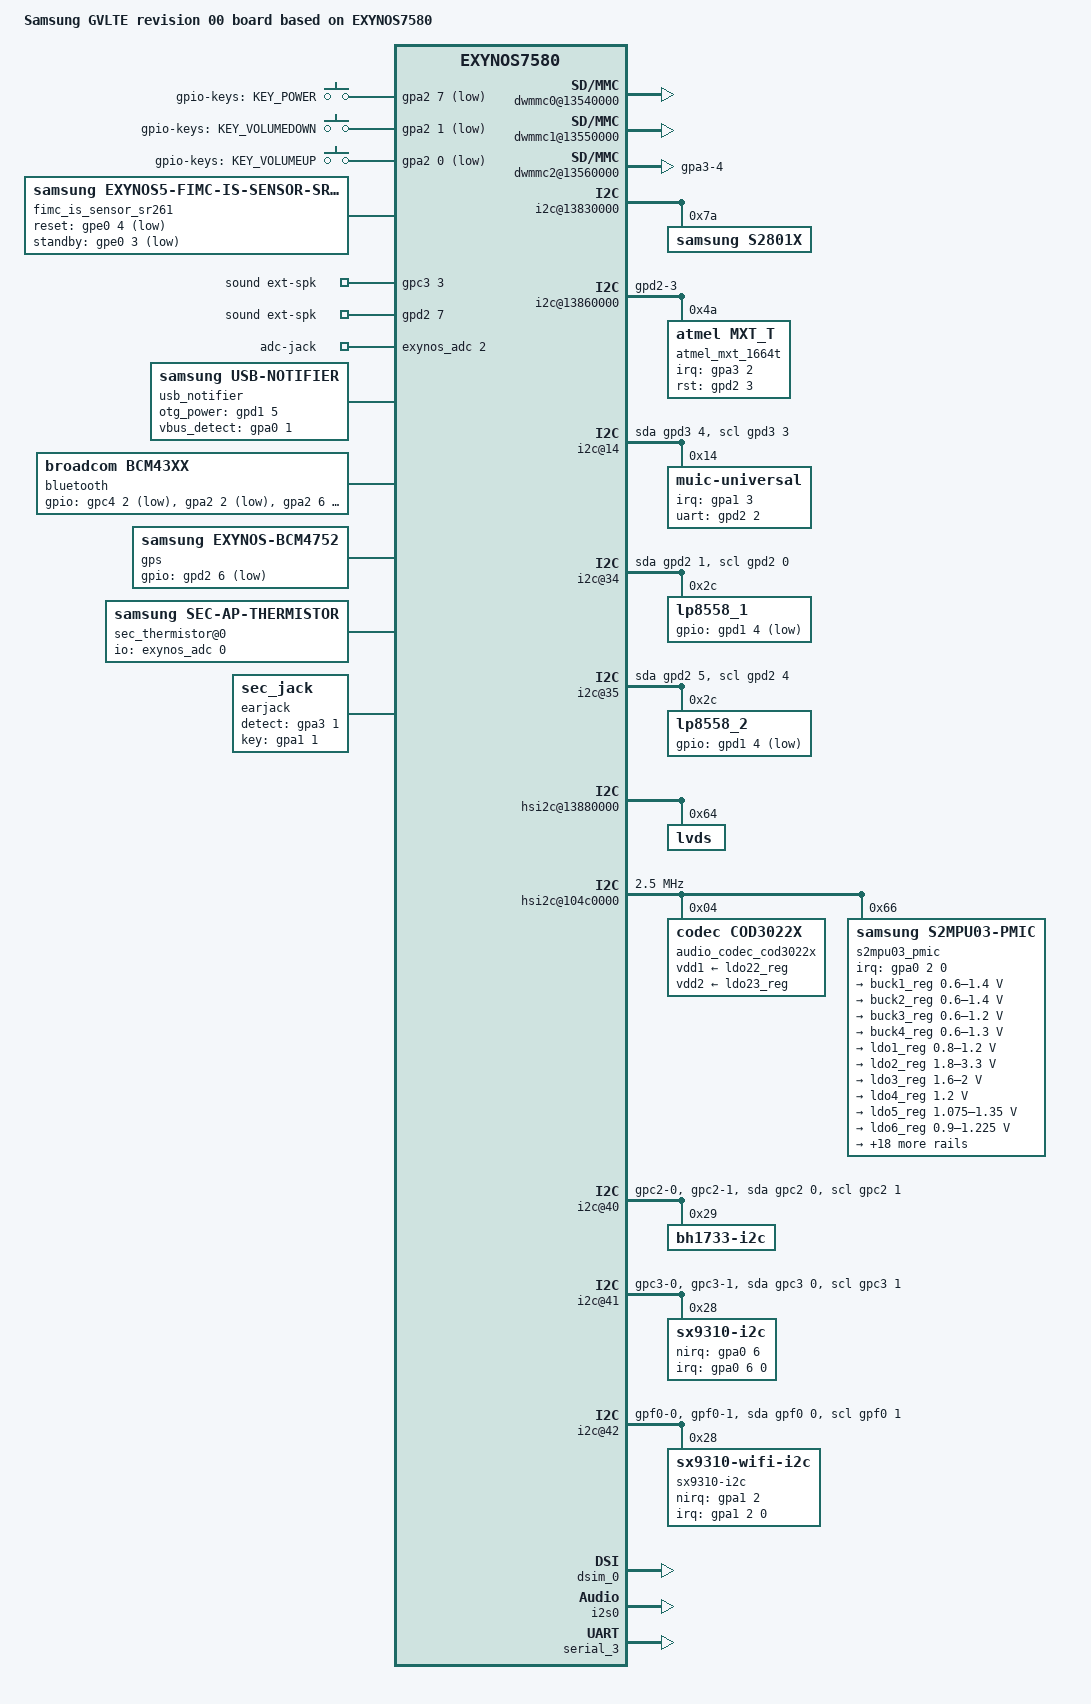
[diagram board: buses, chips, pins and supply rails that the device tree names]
/*
 * SAMSUNG GVLTE board device tree source
 *
 * Copyright (c) 2014 Samsung Electronics Co., Ltd.
 *		http://www.samsung.com
 *
 * This program is free software; you can redistribute it and/or modify
 * it under the terms of the GNU General Public License version 2 as
 * published by the Free Software Foundation.
 */

/dts-v1/;
#include "exynos7580-reserve-2000MB.dtsi"
#include "exynos7580.dtsi"
#include "modem-carmen2-pdata.dtsi"
#include "exynos7580-gvlte_gpio_00.dtsi"
#include "exynos7580-gvlte_battery_01.dtsi"

/ {
	model = "Samsung GVLTE revision 00 board based on EXYNOS7580";
	model_info-chip = <7580>;
	model_info-platform = "android";
	model_info-subtype = "samsung";
	model_info-hw_rev = <9>;
	model_info-hw_rev_end = <9>;
	compatible = "samsung,exynos7580-universal7580,r01", "samsung,exynos7580";

	chosen {
		bootargs = "console=ttySAC1,115200n8 ess_setup=0x46000000 pmic_info=0x02";
		linux,initrd-start = <0x42000000>;
		linux,initrd-end = <0x421FFFFF>;
	};

	fixed-rate-clocks {
		oscclk {
			compatible = "samsung,exynos7580-oscclk";
			clock-frequency = <26000000>;
		};
	};

	dwmmc0@13540000 {
		status = "okay";
		num-slots = <1>;
		broken-cd;
		use-smu;
		fixed_volt;
		clock-gate;
		enable-cclk-on-suspend;
		only_once_tune;
		use-fine-tuning;
		ignore-phase = <(1 << 7)>;
		bypass-for-allpass;
		supports-highspeed;
		supports-hs200-mode;
		supports-ddr200-enhanced-strobe;
		supports-poweroff-notification;
		supports-ddr200-mode;
		enable-cache-control;
		use-enable-shift;
		enable-ulp-mode;
		desc-size = <4>;
		qos_int_level = <200000>;
		fifo-depth = <0x40>;
		card-detect-delay = <0>;
		data-timeout = <200>;
		samsung,dw-mshc-ciu-div = <3>;
		samsung,dw-mshc-sdr-timing = <3 0 2 0>;
		samsung,dw-mshc-ddr-timing = <3 0 2 2>;
		samsung,dw-mshc-hs200-timing = <3 0 3 0>;
		samsung,dw-mshc-ddr200-timing = <1 0 2 0>;
		samsung,dw-mshc-ddr200-ulp-timing = <3 0 3 0>;
		samsung,dw-mshc-ddr200-delay-line = <0x28>;
		samsung,dw-mshc-ddr200-tx-delay-line = <0x28>;
		samsung,dw-mshc-txdt-crc-timer-fastlimit = <0x34>;
		samsung,dw-mshc-txdt-crc-timer-initval = <0x38>;
		clk_pin = "gpr0-0";
		clk_addr = "13750000.pinctrl";
		clk_val = <0x2>;
		clk_str_num = <4>;
		num-ref-clks = <10>;
		ciu_clkin = <25 50 50 100 200 100 200 400 400 200>;
		pinctrl-names = "default";
		pinctrl-0 = <&sd0_clk &sd0_cmd &sd0_rdqs &sd0_bus1 &sd0_bus4 &sd0_bus8>;
		slot@0 {
			reg = <0>;
			bus-width = <8>;
		};
	};

	dwmmc1@13550000 {
		status = "okay";
		num-slots = <1>;
		channel = <1>;
		fixed_volt;
		clock-gate;
		enable-cclk-on-suspend;
		/* broken-cd; */
		caps-control;
		supports-highspeed;
		supports-sdr104-mode;
		keep-power-in-suspend;
		pm-ignore-notify;
		cd-type-external;
		use-broken-voltage;
		use-fine-tuning;
		ignore-phase = <(1 << 7)>;
		fifo-depth = <0x40>;
		card-detect-delay = <200>;
		qos_int_level = <468000>;
		samsung,dw-mshc-ciu-div = <3>;
		samsung,dw-mshc-sdr-timing = <3 0 2 1>;
		samsung,dw-mshc-ddr-timing = <3 0 2 1>;
		clk_pin = "gpr2-0";
		clk_addr = "13750000.pinctrl";
		clk_val = <0x2>;
		clk_str_num = <6>;
		num-ref-clks = <8>;
		ciu_clkin = <25 50 50 100 200 100 200 400>;
		tp_mon_depth = <2>;
				/* Byte/s,  MIF clk, CPU clk, KFC clk*/
                tp_mon_table = <8000000 825000  800000  0
				0       0       0       0>;
		pinctrl-names = "default";
		pinctrl-0 = <&sd1_clk &sd1_cmd &sd1_bus1 &sd1_bus4>;
		slot@0 {
			reg = <0>;
			bus-width = <4>;
		};
	};

	dwmmc2@13560000 {
		status = "okay";
		num-slots = <1>;
		supports-highspeed;
		enable-cclk-on-suspend;
		supports-sdr104-mode;
		bypass-smu;
		use-fine-tuning;
		clock-gate;
		fifo-depth = <0x40>;
		card-detect-delay = <200>;
		data-timeout = <200>;
		ignore-phase = <(1 << 7)>;
		bypass-for-allpass;
		desc-size = <4>;
		samsung,dw-mshc-ciu-div = <3>;
		samsung,dw-mshc-sdr-timing = <3 0 2 0>;
		samsung,dw-mshc-ddr-timing = <3 0 2 1>;
		clk_pin = "gpr4-0";
		clk_addr = "13750000.pinctrl";
		clk_val = <0x2>;
		clk_str_num = <4>;
		num-ref-clks = <8>;
		ciu_clkin = <25 50 50 100 200 100 200 400>;
		pinctrl-names = "default", "output";
		pinctrl-0 = <&sd2_clk &sd2_cmd &sd2_bus1 &sd2_bus4 &dwmmc2_cd_ext_irq>;
		pinctrl-1 = <&sd2_clk_output &sd2_cmd_output &sd2_bus1 &sd2_bus4 &dwmmc2_cd_ext_irq>;
		cd-type-gpio;
		gpio-controller;
		sec-sd-slot-type = <1>; /* Normal SD slot */
		#gpio-cells = <2>;
		cd-gpio = <&gpa3 4 0xf>;
		slot@0 {
			reg = <0>;
			bus-width = <4>;
			disable-wp;
		};
	};

	pinctrl@139B0000 {
		gpa2_pull_up_univ: gpa2-pull-up-univ {
				samsung,pins = "gpa2-7", "gpa2-1", "gpa2-0";
				samsung,pin-function = <0xf>;
				samsung,pin-pud = <3>;
				samsung,pin-drv = <0>;
		};
	};

	gpio_keys{
		compatible = "gpio-keys";
		pinctrl-names = "default";
		pinctrl-0 = <&gpa2_pull_up_univ>;

		button@1 {
			label = "gpio-keys: KEY_POWER";
			interrupt-parent = <&gpa2>;
			linux,code = <116>;
			gpios = <&gpa2 7 0xf>;
			gpio-key,wakeup = <1>;
		};
		button@2 {
			label = "gpio-keys: KEY_VOLUMEDOWN";
			interrupt-parent = <&gpa2>;
			linux,code = <114>;
			gpios = <&gpa2 1 0xf>;
		};
		button@3 {
			label = "gpio-keys: KEY_VOLUMEUP";
			interrupt-parent = <&gpa2>;
			linux,code = <115>;
			gpios = <&gpa2 0 0xf>;
		};
	};

	pinctrl@139B0000 {
		otg_irq: otg-irq {
			samsung,pins = "gpa0-1";
			samsung,pin-function = <0>;
			samsung,pin-pud = <3>;
			samsung,pin-drv = <0>;
		};
		pmic_irq: pmic-irq {
			samsung,pins = "gpa0-2";
			samsung,pin-pud = <3>;
			samsung,pin-drv = <3>;
		};
		cfg_irq: cfg-irq {
			samsung,pins = "gpa0-3";
			samsung,pin-function = <0xf>;
			samsung,pin-pud = <3>;
			samsung,pin-drv = <0>;
		};
		cfg_input: cfg-input {
			samsung,pins = "gpa0-3";
			samsung,pin-function = <0>;
			samsung,pin-pud = <1>;
			samsung,pin-drv = <0>;
		};
		cod3022_irq: cod3022-irq {
			samsung,pins = "gpa0-4";
			samsung,pin-pud = <3>;
			samsung,pin-drv = <3>;
		};
		if_irq: if-irq {
			samsung,pins = "gpa0-5";
			samsung,pin-pud = <3>;
			samsung,pin-drv = <3>;
		};
		muic_irq: muic-irq {
			samsung,pins = "gpa1-3";
			samsung,pin-pud = <0>;
			samsung,pin-drv = <0>;
		};
		attn_input: attn-input {
			samsung,pins = "gpa3-2";
			samsung,pin-function = <0>;
			samsung,pin-pud = <1>;
			samsung,pin-drv = <0>;
		};
		attn_irq: attn-irq {
			samsung,pins = "gpa3-2";
			samsung,pin-function = <0xf>;
			samsung,pin-pud = <0>;
			samsung,pin-drv = <0>;
		};
		dwmmc2_cd_ext_irq: dwmmc2_cd_ext_irq {
			samsung,pins = "gpa3-4";
			samsung,pin-function = <0xf>;
			samsung,pin-pud = <0>;
			samsung,pin-drv = <0>;
		};
		grip_det: grip-det {
			samsung,pins = "gpa0-6";
			samsung,pin-function = <0>;
			samsung,pin-pud = <0>;
			samsung,pin-drv = <0>;
		};
		wifi_grip_det: wifi-grip-det {
			samsung,pins = "gpa1-2";
			samsung,pin-function = <0>;
			samsung,pin-pud = <0>;
			samsung,pin-drv = <0>;
		};
		earjack_jack_det: jack-det {
			samsung,pins = "gpa3-1";
			samsung,pin-function = <0xf>;
			samsung,pin-pud = <0>;
			samsung,pin-drv = <0>;
		};
		earjack_key_det: key-det {
			samsung,pins = "gpa1-1";
			samsung,pin-function = <0xf>;
			samsung,pin-pud = <0>;
			samsung,pin-drv = <0>;
		};
	};

	pinctrl@138C0000 {
		amp_buck_en: amp-buck-en {
			samsung,pins ="gpc3-3";
			samsung,pin-function = <1>;
			samsung,pin-pud = <0>;
			samsung,pin-con-pdn = <3>;
			samsung,pin-pud-pdn = <0>;
			samsung,pin-val = <0>;
		};
	};

	pinctrl@139C0000 {
		hs_i2c1_bus: hs-i2c1-bus {
			samsung,pins = "gpc2-3", "gpc2-2";
			samsung,pin-function = <2>;
			samsung,pin-pud = <0>;
			samsung,pin-drv = <0>;
		};

		cfg_i2c: cfg-i2c {
			samsung,pins = "gpc5-3", "gpc5-2";
			samsung,pin-function = <0>;
			samsung,pin-pud = <3>;
			samsung,pin-drv = <0>;
		};
		cfg_gpio: cfg-gpio {
			samsung,pins = "gpc5-3", "gpc5-2";
			samsung,pin-function = <0>;
			samsung,pin-pud = <0>;
			samsung,pin-drv = <0>;
		};
		amp_en: amp-en {
			samsung,pins ="gpd2-7";
			samsung,pin-function = <1>;
			samsung,pin-pud = <0>;
			samsung,pin-con-pdn = <3>;
			samsung,pin-pud-pdn = <0>;
			samsung,pin-val = <0>;
		};
		/* Warm reset information from AP */
		pm_wrsti: pm-wrsti {
			samsung,pins = "gpe1-0";
			samsung,pin-con-pdn = <3>;
		};
		sensor_reg: sensor-reg {
			samsung,pins = "gpc2-0", "gpc2-1";
			samsung,pin-function = <0x0>;
			samsung,pin-pud = <0>;
			samsung,pin-drv = <0>;
		};
		wifi_grip_reg: wifi-grip-reg {
			samsung,pins = "gpf0-0", "gpf0-1";
			samsung,pin-function = <0x0>;
			samsung,pin-pud = <0>;
			samsung,pin-drv = <0>;
		};
	};

	spi_0: spi@13910000 {
		status = "disabled";
	};

	i2c@13830000 {
		samsung,i2c-sda-delay = <100>;
		samsung,i2c-max-bus-freq = <400000>;
		status = "okay";
		#address-cells = <1>;
		#size-cells = <0>;
		supports-bus-clear;

		s2801x: s2801x@7a {
			compatible = "samsung,s2801x";
			reg = <0x7a>;
			clocks = <&clock 154>,	/* sclk_audmixer */
				 <&clock 155>,	/* sclk_audmixer_bclk0*/
				 <&clock 156>,	/* sclk_audmixer_bclk1 */
				 <&clock 157>,	/* sclk_audmixer_bclk2 */
				 <&clock 152>,	/* bclk_mi2s */
				 <&clock 149>;	/* dout_audmixer*/

			clock-names = "audmixer_sysclk", "audmixer_bclk0",
					"audmixer_bclk1", "audmixer_bclk2",
					"mi2s_bclk", "audmixer_dout";
			sysreg-reset = <0x110F2000>;
			sysreg-i2c = <0x110F3000>;
			pinctrl-names = "default", "idle", "bt-idle";
			pinctrl-0 = <&i2s_pmic_bus
					&i2s2_codec_clk
					&pcm_bt_bus>;
			pinctrl-1 = <&i2s_pmic_bus_idle
					&i2s2_codec_clk_idle
					&pcm_bt_bus_idle>;
			pinctrl-2 = <&i2s_pmic_bus
					&i2s2_codec_clk
					&pcm_bt_bus_idle>;
			samsung,lpass-subip;
		};
	};

	pinctrl@138D0000 {
		i2c_pdn_off: i2c-pdn_off {
			samsung,pins = "gpc4-1", "gpc4-0";
			samsung,pin-con-pdn = <2>;
			samsung,pin-pud-pdn = <1>;
		};
	};

	pinctrl@139C0000 {
		tsp_rst: tsp-rst {
			samsung,pins = "gpd2-3";
			samsung,pin-function = <1>;	/* OUTPUT */
			samsung,pin-pud = <0>;		/* PU & PD DISABLE */
			samsung,pin-con-pdn = <0>;	/* OUTPUT 0 */
			samsung,pin-pud-pdn = <0>;	/* PU & PD DISABLE */
		};
	};

	i2c@13860000 {
		pinctrl-names = "default";
		pinctrl-0 = <&i2c_touch_bus &tsp_rst>;
		samsung,i2c-sda-delay = <100>;
		samsung,i2c-max-bus-freq = <400000>;
		status = "okay";
		atmel_mxt_1664t@4a {
			compatible = "atmel,mxt_t";
			reg = <0x4a>;
			pinctrl-names = "on_state", "off_state";
			pinctrl-0 = <&attn_irq>;
			pinctrl-1 = <&attn_input>;	//&i2c_pdn_off
			mxts,irq-gpio = <&gpa3 2 0>;
			mxts,rst-gpio = <&gpd2 3 0>;
			mxts,tsp_coord = <36 64 4095 2331>;

			mxts,regulator_dvdd = "tsp_io";
			mxts,regulator_avdd = "tsp_avdd";
			mxts,firmware_name = "tsp_atmel/mxt2405_gvlte_100ch.fw";

			mxts,pname = "GVIEW";
		};
	};

	i2c@14 {
		compatible = "i2c-gpio";
		gpios = <&gpd3 4 0
			&gpd3 3 0>;
		i2c-gpio,delay-us = <5>;
		#address-cells = <1>;
		#size-cells = <0>;
		status = "okay";

		muic-universal@14 {
			status = "okay";
			compatible = "muic-universal";
			reg = <0x14>;
			pinctrl-names = "default";
			pinctrl-0 = <&muic_irq>;
			muic-universal,chip_name = "sm,sm5504";
			muic-universal,irq-gpio = <&gpa1 3 0>;
			muic-universal,uart-gpio = <&gpd2 2 0>;
			muic-universal,uart-ap = <0x1>;
		};
	};

	muic {
		status = "disabled";
		muic,support-list = "+OTG:GND",
					"-MHL:1K",
					"-VZW Accessory:28.7K",
					"-VZW Incompatible:34K",
					"-Smartdock:40.2K",
					"-HMT:49.9K",
					"-Audiodock:64.9K",
					"+USB LANHUB:80.07K",
					"-Charging Cable:102K",
					"-Universal Multimedia dock:121K",
					"+Jig USB Off:255K",
					"+Jig USB On:301K",
					"-Deskdock:365K",
					"+TYPE2 Charger:442K",
					"+Jig UART Off:523K",
					"+Jig UART On:619K",
					"+TA:OPEN",
					"+USB:OPEN",
					"+CDP:OPEN",
					"+Undefined Charging:XXX";
	};

	i2c@34 {  /*backlight ic 1*/
		compatible = "i2c-gpio";
		gpios = <&gpd2 1 0
			&gpd2 0 0>;/*sda scl*/
		i2c-gpio,delay-us = <2>;
		#address-cells = <1>;
		#size-cells = <0>;
		status = "okay";

		lp8558_1@34 {
			compatible = "lp8558_1";
			reg = <0x2C>;
			pinctrl-names = "default";
			gpios = <&gpd1 4 0x1>;
			rev = <9>;
		};
	};

	i2c@35 {  /*backlight ic 2*/
		compatible = "i2c-gpio";
		gpios = <&gpd2 5 0
			&gpd2 4 0>;/*sda scl*/
		i2c-gpio,delay-us = <2>;
		#address-cells = <1>;
		#size-cells = <0>;
		status = "okay";

		lp8558_2@35 {
			compatible = "lp8558_2";
			reg = <0x2C>;
			pinctrl-names = "default";
			gpios = <&gpd1 4 0x1>;		/*duplicated*/
			rev = <9>;				/*duplicated*/
		};
	};

	hsi2c@13880000 {
		status = "okay";
		lvds@64 {
			compatible = "lvds";
			reg = <0x64>;
			lvds_sda = "gpc2-2";
			lvds_scl = "gpc2-3";
		};
	};

	hsi2c@104c0000 {
		status = "okay";
		samsung,hs-mode;
		clock-frequency = <2500000>;
		samsung,hsi2c-batcher;
		#address-cells = <1>;
		#size-cells = <0>;

		audio_codec_cod3022x: cod3022x@04 {
			compatible = "codec,cod3022x";
			reg = <0x04>;
			ten-bit-address;
			vdd1-supply = <&ldo22_reg>;
			vdd2-supply = <&ldo23_reg>;
			pinctrl-names = "default";
			pinctrl-0 = <&cod3022_irq>;
			interrupt-parent = <&gpa0>;
			/* Mic Bias: 0->2.1v, 1->2.5v, 2->2.6v, 3->3.0v */
			mic-bias1-voltage = <3>;
			mic-bias2-voltage = <1>;
		};

		s2mpu03_pmic@66 {
			compatible = "samsung,s2mpu03-pmic";
			reg = <0x66>;
			ten-bit-address;
			interrupts = <2 0 0>;
			interrupt-parent = <&gpa0>;
			pinctrl-names = "default";
			pinctrl-0 = <&pmic_irq &pm_wrsti>;
			g3d_en = <1>; /* 1 : enable , 0 : disable */
			/*
			buck4en_pin = "etc1-3";
			buck4en_addr = "1111111.pinctrl";
			*/
			/* RTC: wtsr/smpl */
			wtsr_en = <1>; /* enable */
			smpl_en = <1>; /* enable */
			wtsr_timer_val = <3>;   /* 1000ms */
			smpl_timer_val = <4>;   /* 500ms */
			check_jigon = <0>; /* do not check jigon */
			/* RTC: If it's first boot, reset rtc to 1/1/2015 12:00:00(Thu) */
			init_time,sec = <0>;
			init_time,min = <0>;
			init_time,hour = <12>;
			init_time,mday = <1>;
			init_time,mon = <0>;
			init_time,year = <115>;
			init_time,wday = <4>;

			regulators {
				buck1_reg: BUCK1 {
					regulator-name = "cpu-cluster.1";
					regulator-min-microvolt = <600000>;
					regulator-max-microvolt = <1400000>;
					regulator-always-on;
					regulator-boot-on;
					regulator-ramp-delay = <12000>;
					regulator-initial-mode = <1>;
				};

				buck2_reg: BUCK2 {
					regulator-name = "cpu-cluster.0";
					regulator-min-microvolt = <600000>;
					regulator-max-microvolt = <1400000>;
					regulator-always-on;
					regulator-boot-on;
					regulator-ramp-delay = <12000>;
					regulator-initial-mode = <1>;
				};

				buck3_reg: BUCK3 {
					regulator-name = "vdd_intmif";
					regulator-min-microvolt = <600000>;
					regulator-max-microvolt = <1200000>;
					regulator-always-on;
					regulator-boot-on;
					regulator-ramp-delay = <12000>;
					regulator-initial-mode = <1>;
				};

				buck4_reg: BUCK4 {
					regulator-name = "vdd_g3d";
					regulator-min-microvolt = <600000>;
					regulator-max-microvolt = <1300000>;
					regulator-always-on;
					regulator-boot-on;
					regulator-ramp-delay = <12000>;
					regulator-initial-mode = <1>;
				};

				ldo1_reg: LDO1 {
					regulator-name = "vdd_ldo1";
					regulator-min-microvolt = <800000>;
					regulator-max-microvolt = <1200000>;
					regulator-always-on;
					regulator-ramp-delay = <12000>;
					regulator-initial-mode = <3>;
				};

				ldo2_reg: LDO2 {
					regulator-name = "vqmmc";
					regulator-min-microvolt = <1800000>;
					regulator-max-microvolt = <3300000>;
					regulator-boot-on;
					regulator-always-on;
					regulator-ramp-delay = <12000>;
					regulator-initial-mode = <1>;
				};

				ldo3_reg: LDO3 {
					regulator-name = "vdd_ldo3";
					regulator-min-microvolt = <1600000>;
					regulator-max-microvolt = <2000000>;
					regulator-boot-on;
					regulator-always-on;
					regulator-ramp-delay = <12000>;
					regulator-initial-mode = <3>;
				};

				ldo4_reg: LDO4 {
					regulator-name = "vdd_ldo4";
					regulator-min-microvolt = <1200000>;
					regulator-max-microvolt = <1200000>;
					regulator-boot-on;
					regulator-always-on;
					regulator-ramp-delay = <12000>;
					regulator-initial-mode = <1>;
				};

				ldo5_reg: LDO5 {
					regulator-name = "vdd_ldo5";
					regulator-min-microvolt = <1075000>;
					regulator-max-microvolt = <1350000>;
					regulator-boot-on;
					regulator-always-on;
					regulator-ramp-delay = <12000>;
					regulator-initial-mode = <3>;
				};

				ldo6_reg: LDO6 {
					regulator-name = "vdd_ldo6";
					regulator-min-microvolt = <900000>;
					regulator-max-microvolt = <1225000>;
					regulator-boot-on;
					regulator-always-on;
					regulator-ramp-delay = <12000>;
					regulator-initial-mode = <1>;
				};

				ldo7_reg: LDO7 {
					regulator-name = "vdd_ldo7";
					regulator-min-microvolt = <1600000>;
					regulator-max-microvolt = <2000000>;
					regulator-boot-on;
					regulator-always-on;
					regulator-initial-mode = <1>;
				};

				ldo8_reg: LDO8 {
					regulator-name = "vdd_ldo8";
					regulator-min-microvolt = <2250000>;
					regulator-max-microvolt = <3300000>;
					regulator-boot-on;
					regulator-always-on;
					regulator-initial-mode = <1>;
				};

				ldo10_reg: LDO10 {
					regulator-name = "vdd_ldo10";
					regulator-min-microvolt = <800000>;
					regulator-max-microvolt = <1350000>;
					regulator-always-on;
					regulator-initial-mode = <1>;
				};

				ldo22_reg: LDO22 {
					regulator-name = "codec_ldo22";
					regulator-min-microvolt = <1000000>;
					regulator-max-microvolt = <2375000>;
					regulator-initial-mode = <3>;
				};

				ldo23_reg: LDO23 {
					regulator-name = "codec_ldo23";
					regulator-min-microvolt = <1000000>;
					regulator-max-microvolt = <2375000>;
					regulator-initial-mode = <3>;
				};

				ldo26_reg: LDO26 {
					regulator-name = "vmmc";
					regulator-min-microvolt = <2800000>;
					regulator-max-microvolt = <2800000>;
					regulator-boot-on;
					regulator-initial-mode = <1>;
				};

				ldo27_reg: LDO27 {
					regulator-name = "VDDIO_1.8V_VT";
					regulator-min-microvolt = <1800000>;
					regulator-max-microvolt = <1800000>;
					regulator-initial-mode = <1>;
				};

				ldo28_reg: LDO28 {
					regulator-name = "vtouch_1.8v";
					regulator-min-microvolt = <1800000>;
					regulator-max-microvolt = <1800000>;
					/* regulator-always-on; */
					regulator-initial-mode = <1>;
				};

				ldo30_reg: LDO30 {
					regulator-name = "ldo30";
					regulator-min-microvolt = <3000000>;
					regulator-max-microvolt = <3000000>;
					regulator-boot-on;
					regulator-initial-mode = <3>;
				};

				ldo31_reg: LDO31 {
					regulator-name = "GRIP_1P8";
					regulator-min-microvolt = <1800000>;
					regulator-max-microvolt = <1800000>;
					regulator-always-on;
					regulator-boot-on;
				};

				ldo32_reg: LDO32 {
					regulator-name = "tsp_io";
					regulator-min-microvolt = <1800000>;
					regulator-max-microvolt = <1800000>;
				};

				ldo33_reg: LDO33 {
					regulator-name = "LVDS_CLK_1P8_L33";
					regulator-min-microvolt = <1800000>;
					regulator-max-microvolt = <1800000>;
					regulator-boot-on;
					regulator-initial-mode = <3>;
				};

				ldo34_reg: LDO34 {
					regulator-name = "VDD_SENSOR_2P85";
					regulator-min-microvolt = <2850000>;
					regulator-max-microvolt = <2850000>;
					regulator-always-on;
					regulator-boot-on;
					regulator-initial-mode = <3>;
				};

				ldo35_reg: LDO35 {
					regulator-name = "VDD_VTCAM_SENSOR_A2P8";
					regulator-min-microvolt = <2800000>;
					regulator-max-microvolt = <2800000>;
					regulator-initial-mode = <1>;
				};

				ldo36_reg: LDO36 {
					regulator-name = "LVDS_1P8_L36";
					regulator-min-microvolt = <1800000>;
					regulator-max-microvolt = <1800000>;
					regulator-boot-on;
					regulator-initial-mode = <3>;
				};

				ldo37_reg: LDO37 {
					regulator-name = "tsp_avdd";
					regulator-min-microvolt = <3300000>;
					regulator-max-microvolt = <3300000>;
				};

				ldo38_reg: LDO38 {
					regulator-name = "ldo38";
					regulator-min-microvolt = <2800000>;
					regulator-max-microvolt = <2800000>;
					regulator-always-on;
					regulator-boot-on;
					regulator-initial-mode = <3>;
				};

				ldo39_reg: LDO39 {
					regulator-name = "ldo39";
					regulator-min-microvolt = <1800000>;
					regulator-max-microvolt = <1800000>;
					regulator-always-on;
					regulator-boot-on;
					regulator-initial-mode = <3>;
				};
			};
		};
	};

	pinctrl@139C0000 {
		fimc_is_mclk1_fn: fimc_is_mclk1_fn {
			samsung,pins = "gpe1-3";
			samsung,pin-function = <2>;
			samsung,pin-pud = <0>;
			samsung,pin-drv = <2>;
		};
	};

	fimc_is_sensor_sr261: fimc-is_sensor_sr261@0 {
		compatible = "samsung,exynos5-fimc-is-sensor-sr261";

		pinctrl-names = "pin0", "pin1";
		pinctrl-0 = <&fimc_is_mclk1_fn &fimc_is_i2c1>; /* front on */
		pinctrl-1 = <&fimc_is_mclk1_in &fimc_is_i2c1>; /* front off */

		position = <1>; /* Rear:0. Front:1 */
		id = <1>; /* bns_id */
		mclk_ch = <1>;
		sensor_i2c_ch = <1>;
		sensor_i2c_addr = <0x0>;

		gpio_reset = <&gpe0 4 0x1>;
		gpio_standby = <&gpe0 3 0x1>;
		status = "okay";
	};

	fimc_is_sensor1: fimc_is_sensor@144b0000 {
		scenario = <0>;
		id = <1>;
		mclk_ch = <1>;
		csi_ch = <1>;
		flite_ch = <1>;
		i2c_ch = <1>;
		i2c_addr = <0x0>;
		is_bns = <0>;
		status = "okay";
	};

	fimc_is@14400000 {
		front_sensor_id = <201>; /* SENSOR_NAME_SR261 */

		total_camera_num = <1>;
		camera_info0 {				// 0 : front
			isp = <0>;				/* 0 : INT , 1 : EXT , 2 : SOC */
			cal_memory = <0>;		/* 0 : N , 1 : FROM , 2 : EEPROM , 3 : OTP  */
			read_version = <0>;		/* 0 : SYSFS , 1 : CAMON */
			core_voltage = <0>;		/* 0 : N , 1 : Y  */
			upgrade = <0>;			/* 0 : N , 1 : SYSFS , 2 : CAMON */
			companion = <0>;	/* 0 : N , 1 : Y  */
			ois = <0>;				/* 0 : N , 1 : Y  */
		};

		#define DVFS_INT_L0 400000
		#define DVFS_INT_L1 334000
		#define DVFS_INT_L2 267000
		#define DVFS_INT_L3 200000
		#define DVFS_INT_L4 160000
		#define DVFS_INT_L5 134000
		#define DVFS_INT_L6 111000
		#define DVFS_INT_L7 100000

		#define DVFS_CAM_L0 530000
		#define DVFS_CAM_L1 480000
		#define DVFS_CAM_L2 430000
		#define DVFS_CAM_L3 400000
		#define DVFS_CAM_L4 200000

		#define DVFS_MIF_L0 825000
		#define DVFS_MIF_L1 728000
		#define DVFS_MIF_L2 667000
		#define DVFS_MIF_L3 559000
		#define DVFS_MIF_L4 416000
		#define DVFS_MIF_L5 338000
		#define DVFS_MIF_L6 273000
		#define DVFS_MIF_L7 200000

		fimc_is_dvfs {
			default_int = <DVFS_INT_L0>;
			default_cam = <DVFS_CAM_L0>;
			default_mif = <DVFS_MIF_L0>;
			default_i2c = <0>;

			front_preview_int = <DVFS_INT_L0>;
			front_preview_cam = <DVFS_CAM_L0>;
			front_preview_mif = <DVFS_MIF_L0>;
			front_preview_i2c = <0>;

			front_capture_int = <DVFS_INT_L0>;
			front_capture_cam = <DVFS_CAM_L0>;
			front_capture_mif = <DVFS_MIF_L0>;
			front_capture_i2c = <0>;

			front_video_int = <DVFS_INT_L0>;
			front_video_cam = <DVFS_CAM_L0>;
			front_video_mif = <DVFS_MIF_L0>;
			front_video_i2c = <0>;

			front_video_whd_int = <DVFS_INT_L0>;
			front_video_whd_cam = <DVFS_CAM_L0>;
			front_video_whd_mif = <DVFS_MIF_L0>;
			front_video_whd_i2c = <0>;

			front_video_capture_int = <DVFS_INT_L0>;
			front_video_capture_cam = <DVFS_CAM_L0>;
			front_video_capture_mif = <DVFS_MIF_L0>;
			front_video_capture_i2c = <0>;

			front_video_whd_capture_int = <DVFS_INT_L0>;
			front_video_whd_capture_cam = <DVFS_CAM_L0>;
			front_video_whd_capture_mif = <DVFS_MIF_L0>;
			front_video_whd_capture_i2c = <0>;

			front_vt1_int = <DVFS_INT_L0>;
			front_vt1_cam = <DVFS_CAM_L0>;
			front_vt1_mif = <DVFS_MIF_L0>;
			front_vt1_i2c = <0>;

			front_vt2_int = <DVFS_INT_L0>;
			front_vt2_cam = <DVFS_CAM_L0>;
			front_vt2_mif = <DVFS_MIF_L0>;
			front_vt2_i2c = <0>;

			rear_preview_fhd_int = <DVFS_INT_L0>;
			rear_preview_fhd_cam = <DVFS_CAM_L0>;
			rear_preview_fhd_mif = <DVFS_MIF_L0>;
			rear_preview_fhd_i2c = <0>;

			rear_preview_whd_int = <DVFS_INT_L0>;
			rear_preview_whd_cam = <DVFS_CAM_L0>;
			rear_preview_whd_mif = <DVFS_MIF_L0>;
			rear_preview_whd_i2c = <0>;

			rear_preview_uhd_int = <DVFS_INT_L0>;
			rear_preview_uhd_cam = <DVFS_CAM_L0>;
			rear_preview_uhd_mif = <DVFS_MIF_L0>;
			rear_preview_uhd_i2c = <0>;

			rear_capture_int = <DVFS_INT_L0>;
			rear_capture_cam = <DVFS_CAM_L0>;
			rear_capture_mif = <DVFS_MIF_L0>;
			rear_capture_i2c = <0>;

			rear_video_fhd_int = <DVFS_INT_L0>;
			rear_video_fhd_cam = <DVFS_CAM_L0>;
			rear_video_fhd_mif = <DVFS_MIF_L0>;
			rear_video_fhd_i2c = <0>;

			rear_video_uhd_int = <DVFS_INT_L0>;
			rear_video_uhd_cam = <DVFS_CAM_L0>;
			rear_video_uhd_mif = <DVFS_MIF_L0>;
			rear_video_uhd_i2c = <0>;

			rear_video_fhd_capture_int = <DVFS_INT_L0>;
			rear_video_fhd_capture_cam = <DVFS_CAM_L0>;
			rear_video_fhd_capture_mif = <DVFS_MIF_L0>;
			rear_video_fhd_capture_i2c = <0>;

			rear_video_uhd_capture_int = <DVFS_INT_L0>;
			rear_video_uhd_capture_cam = <DVFS_CAM_L0>;
			rear_video_uhd_capture_mif = <DVFS_MIF_L0>;
			rear_video_uhd_capture_i2c = <0>;

			dual_preview_int = <DVFS_INT_L0>;
			dual_preview_cam = <DVFS_CAM_L0>;
			dual_preview_mif = <DVFS_MIF_L0>;
			dual_preview_i2c = <0>;

			dual_capture_int = <DVFS_INT_L0>;
			dual_capture_cam = <DVFS_CAM_L0>;
			dual_capture_mif = <DVFS_MIF_L0>;
			dual_capture_i2c = <0>;

			dual_video_int = <DVFS_INT_L0>;
			dual_video_cam = <DVFS_CAM_L0>;
			dual_video_mif = <DVFS_MIF_L0>;
			dual_video_i2c = <0>;

			dual_video_capture_int = <DVFS_INT_L0>;
			dual_video_capture_cam = <DVFS_CAM_L0>;
			dual_video_capture_mif = <DVFS_MIF_L0>;
			dual_video_capture_i2c = <0>;

			preview_high_speed_fps_int = <DVFS_INT_L0>;
			preview_high_speed_fps_cam = <DVFS_CAM_L0>;
			preview_high_speed_fps_mif = <DVFS_MIF_L0>;
			preview_high_speed_fps_i2c = <0>;

			video_high_speed_fps_int = <DVFS_INT_L0>;
			video_high_speed_fps_cam = <DVFS_CAM_L0>;
			video_high_speed_fps_mif = <DVFS_MIF_L0>;
			video_high_speed_fps_i2c = <0>;

			max_int = <DVFS_INT_L0>;
			max_cam = <DVFS_CAM_L0>;
			max_mif = <DVFS_MIF_L0>;
			max_i2c = <0>;
		};
	};

	i2c@40 {
		compatible = "i2c-gpio";
		gpios = <&gpc2 0 0 /* sda */
				&gpc2 1 0 /* scl */
			>;
		pinctrl-names = "default";
		pinctrl-0 = <&sensor_reg>;
		i2c-gpio,delay-us = <2>;
		#address-cells = <1>;
		#size-cells = <0>;

		bh1733-i2c@29 {
			compatible = "bh1733-i2c";
			reg = <0x29>;
		};
	};

	i2c@41 {
		compatible = "i2c-gpio";
		gpios = <&gpc3 0 0 /* sda */
				&gpc3 1 0 /* scl */
			>;
		pinctrl-names = "default";
		pinctrl-0 = <&grip_reg>;
		i2c-gpio,delay-us = <2>;
		#address-cells = <1>;
		#size-cells = <0>;

		sx9310-i2c@28 {
			compatible = "sx9310-i2c";
			reg = <0x28>;
			pinctrl-names = "default";
			pinctrl-0 = <&grip_det>;
			interrupts = <6 0 0>;
			interrupt-parent = <&gpa0>;
			sx9310-i2c,nirq-gpio = <&gpa0 6 0x00>;
		};
	};

	i2c@42 {
		compatible = "i2c-gpio";
		gpios = <&gpf0 0 0 /* sda */
				&gpf0 1 0 /* scl */
			>;
		pinctrl-names = "default";
		pinctrl-0 = <&wifi_grip_reg>;
		i2c-gpio,delay-us = <2>;
		#address-cells = <1>;
		#size-cells = <0>;

		sx9310-i2c@28 {
			compatible = "sx9310-wifi-i2c";
			reg = <0x28>;
			pinctrl-names = "default";
			pinctrl-0 = <&wifi_grip_det>;
			interrupts = <2 0 0>;
			interrupt-parent = <&gpa1>;
			sx9310_wifi-i2c,nirq-gpio = <&gpa1 2 0x00>;
		};
	};

	pinctrl@138C0000 {
		grip_reg: grip-reg {
			samsung,pins = "gpc3-0", "gpc3-1";
			samsung,pin-function = <0x0>;
			samsung,pin-pud = <0>;
			samsung,pin-drv = <0>;
		};
	};

	ion {
		compatible = "samsung,exynos5430-ion";
	};

	decon_fb@14830000 {
		/* XEINT7, GPIO & pin control */
		gpios = <&gpd0 7 0xf>;
		psr_mode = <0>;		/* 0: video mode, 1: DP command mode, 2: MIPI command mode */
		trig_mode = <1>;	/* 0: hw trigger, 1: sw trigger */
		disp-pll-clk = <140250000>;
		status = "okay";
	};

	dsim_0: dsim@14800000 {
		lcd_info = <&ltm184hl01>;
		decon_board = <&decon_board_list>;
		/* LVDS_RESET, LCD_EN, LVDS_EN, LCD_RESET */
		/* gpios = <&gpd1 3 0x1>, <&gpd1 6 0x1>, <&gpe0 5 0x1>, <&gpd1 2 0x1>; */
		/* lcd_vdd = "LVDS_1P8_L36"; */
		/* lcd_vdd_2 = "LVDS_CLK_1P8_L33"; */

		status = "okay";
	};

	decon_board_list: decon_board_list {
		dsim_set_panel_power_enable {
			type = "regulator,enable", "regulator,enable", "gpio,high", "delay,usleep", "gpio,high", "delay,usleep", "gpio,high", "delay,usleep";
			gpios = <&gpd1 6 0x1>, <&gpe0 5 0x1>, <&gpd1 2 0x1>;
			delay = <40000 41000>, <20000 21000>, <10000 11000>;
			regulator = "LVDS_1P8_L36", "LVDS_CLK_1P8_L33";
		};
		dsim_set_panel_power_disable {
			type =
			"gpio,low", "delay,usleep",
			"gpio,low", "delay,usleep",
			"gpio,low", "delay,usleep",
			"gpio,low", "delay,usleep",
			"regulator,disable", "delay,usleep",
			"regulator,disable", "delay,msleep";
			gpios = <&gpd1 3 0x1>, <&gpd1 2 0x1>, <&gpe0 5 0x1>, <&gpd1 6 0x1>;
			delay = <10000 11000>, <5000 6000>, <5000 6000>, <5000 6000>, <5000 6000>, <470>;
			regulator = "LVDS_CLK_1P8_L33", "LVDS_1P8_L36";
		};
		dsim_reset_panel {
			type = "gpio,high", "delay,usleep", "gpio,low", "delay,usleep", "gpio,high", "delay,usleep";
			gpios = <&gpd1 3 0x1>, <&gpd1 3 0x1>, <&gpd1 3 0x1>;
			delay = <10000 11000>, <10000 11000>, <10000 11000>;
		};
	};

	ltm184hl01: ltm184hl01_fhd {
		mode = <0>;
		resolution = <1920 1080>;
		size = <409 230>;
		timing,refresh = <60>;
		/* HBP HFP HSW */
		timing,h-porch = <60 80 60>;
		/* VBP VFP VSW */
		timing,v-porch = <8 8 8>;
		timing,dsi-hs-clk = <843>;
		timing,dsi-escape-clk = <19>;
		mic = <0>;
		lvds_supported = <1>;
		/* lcd_power0_delay = <30000>; */
		/* lcd_power1_delay = <10000>; */
		/* lcd_poweroff_delay = <470>; */	/*unit: ms*/
	};

	i2s0: i2s@11040000 {
		status = "okay";
	};

	audio_cp_dummy: cp_dummy {
		compatible = "samsung,cp_dummy";
		status = "okay";
	};

	audio_bt_dummy: bt_dummy {
		compatible = "samsung,bt_dummy";
		status = "okay";
	};

	audio_fm_dummy: fm_dummy {
		compatible = "samsung,fm_dummy";
		status = "okay";
	};

	audio_codec_dummy: dummy-codec {
		compatible = "samsung,dummy-codec";
		status = "okay";
	};

	det_zones: det_zones {
		#list-det-cells = <4>;
	};

	but_zones: but_zones {
		#list-but-cells = <3>;
	};

	sound {
		compatible = "samsung,universal7580-cod3022x";
		samsung,audio-cpu = <&i2s0	/* primary */
					&i2s0	/* secondary */
					&audio_cp_dummy
					&audio_bt_dummy
					&audio_fm_dummy
					&eax
					&eax>;
		samsung,audio-codec = <&audio_codec_cod3022x
					&audio_codec_cod3022x
					&audio_codec_cod3022x
					&audio_codec_dummy
					&audio_codec_cod3022x
					&audio_codec_cod3022x
					&audio_codec_cod3022x>;
		samsung,auxdev = <&s2801x>;
		samsung,use-externel-jd;
		clocks = <&clock 151>;		 /* sclk_i2s */
		clock-names = "codec_bclk";
		mic-bias-mode = <1 2 1>;
		pinctrl-names = "default";
		pinctrl-0 = <&amp_en &amp_buck_en>;
		io-channels = <&exynos_adc 2>;
		io-channel-names = "adc-jack";
		#io-channel-cells = <1>;
		io-channel-ranges;
		samsung,fm-uses-bt1;
		samsung,uses-ext-spk;
		ext-spk-gpios = <&gpc3 3 0x0
				&gpd2 7 0x0>;
		status = "okay";
	};

	usb_notifier {
		compatible = "samsung,usb-notifier";
		gpios_otg_power = <&gpd1 5 0>; /* OTG_EN GPIO for USB Host VBUS */
		gpios_vbus_detect = <&gpa0 1 0>; /* OTG_FAULT set for Overcurrent checking */
		pinctrl-names = "default";
		pinctrl-0 = <&otg_irq>;
	};

	serial_2: uart@13820000 {
		status = "disabled";
	};

	serial_3: uart@11060000 {
		/* Enable AUD-UART for Bluetooth */
		pinctrl-0 = <&uart_bt_active &uart_bt_output_sleep &uart_bt_input_sleep>;
		status = "okay";
	};

	bluetooth {
		compatible = "broadcom,bcm43xx";
		gpios = <&gpc4 2 0x1	/*BT_EN*/
				&gpa2 2 0x1	/*BT_WAKE*/
				&gpa2 6 0xF	/*BT_HOST_WAKE*/ >;
		pinctrl-names = "default";
		pinctrl-0=<&bt_hostwake &bt_btwake &bt_en>;
		status = "okay";
	};


	input_booster {
		status = "okay";
		compatible = "input_booster";
		#address-cells = <1>;
		#size-cells = <0>;

		booster_key@1 {
			input_booster,label = "KEY";
			input_booster,type = <0>;	/* BOOSTER_DEVICE_KEY */

			input_booster,levels = <1>;

			/* Frequency table */
			/* for level	:	1_Head */
			input_booster,cpu_freqs = <1100000>;
			input_booster,hmp_boost = <0>;
			input_booster,kfc_freqs = <1100000>;
			input_booster,mif_freqs = <0>;
			input_booster,int_freqs = <0>;

			/* Time table */
			input_booster,head_times = <500>;
			input_booster,tail_times = <500>;
			input_booster,phase_times = <0>;
		};
		booster_key@2 {
			input_booster,label = "TOUCHKEY";
			input_booster,type = <1>;	/* BOOSTER_DEVICE_TOUCHKEY */

			input_booster,levels = <1>;

			/* Frequency table */
			/* for level	:	1_Head */
			input_booster,cpu_freqs = <1100000>;
			input_booster,hmp_boost = <0>;
			input_booster,kfc_freqs = <1100000>;
			input_booster,mif_freqs = <0>;
			input_booster,int_freqs = <0>;

			/* Time table */
			input_booster,head_times = <0>;
			input_booster,tail_times = <200>;
			input_booster,phase_times = <0>;
		};
		booster_key@3 {
			input_booster,label = "TOUCH";
			input_booster,type = <2>;	/* BOOSTER_DEVICE_TOUCH */

			input_booster,levels = <1 2 3>;

			/* Frequency table */
			/* for level	:	1_Head, 2_Head, 2_Tail */
			input_booster,cpu_freqs = <1100000 1100000 900000>;
			input_booster,hmp_boost = <0 0 0>;
			input_booster,kfc_freqs = <1100000 1100000 900000>;
			input_booster,mif_freqs = <0 0 0>;
			input_booster,int_freqs = <0 0 0>;

			/* Time table */
			input_booster,head_times = <200 200 0>;
			input_booster,tail_times = <300 300 0>;
			input_booster,phase_times = <0 0 0>;
		};
		booster_key@4 { // Input Booster +
			input_booster,label = "MULTITOUCH";
			input_booster,type = <3>;	/* BOOSTER_DEVICE_MULTITOUCH */

			input_booster,levels = <1 2>;

			/* Frequency table */
			/* for level	:	1_Head 2_Tail*/
			input_booster,cpu_freqs = <1300000 900000>;
			input_booster,hmp_boost = <0 0>;
			input_booster,kfc_freqs = <1300000 900000>;
			input_booster,mif_freqs = <0 0>;
			input_booster,int_freqs = <0 0>;

			/* Time table */
			input_booster,head_times = <1000 1000>;
			input_booster,tail_times = <500 500>;
			input_booster,phase_times = <0 0>;
		};
		booster_key@5 {
			input_booster,label = "KEYBOARD";
			input_booster,type = <4>;	/* BOOSTER_DEVICE_KEYBOARD */

			input_booster,levels = <1 2>;

			/* Frequency table */
			/* for level	:	1_Head 2_Tail*/
			input_booster,cpu_freqs = <1100000 1100000>;
			input_booster,hmp_boost = <0 0>;
			input_booster,kfc_freqs = <1100000 1100000>;
			input_booster,mif_freqs = <0 0>;
			input_booster,int_freqs = <0 0>;

			/* Time table */
			input_booster,head_times = <130 130>;
			input_booster,tail_times = <0 0>;
			input_booster,phase_times = <0 0>;
		};
		booster_key@6 {
			input_booster,label = "MOUSE";
			input_booster,type = <5>;	/* BOOSTER_DEVICE_MOUSE */

			input_booster,levels = <1 2>;

			/* Frequency table */
			/* for level	:	1_Head 2_Tail*/
			input_booster,cpu_freqs = <1100000 900000>;
			input_booster,hmp_boost = <0 0>;
			input_booster,kfc_freqs = <1100000 900000>;
			input_booster,mif_freqs = <0 0>;
			input_booster,int_freqs = <0 0>;

			/* Time table */
			input_booster,head_times = <130 130>;
			input_booster,tail_times = <500 500>;
			input_booster,phase_times = <0 0>;
		};
		booster_key@7 {
			input_booster,label = "MOUSE WHEEL";
			input_booster,type = <6>;	/* BOOSTER_DEVICE_MOUSE */

			input_booster,levels = <1 2>;

			/* Frequency table */
			/* for level	:	1_Head 2_Tail*/
			input_booster,cpu_freqs = <1100000 0>;
			input_booster,hmp_boost = <0 0>;
			input_booster,kfc_freqs = <1100000 0>;
			input_booster,mif_freqs = <0 0>;
			input_booster,int_freqs = <0 0>;

			/* Time table */
			input_booster,head_times = <130 0>;
			input_booster,tail_times = <0 0>;
			input_booster,phase_times = <0 0>;
		};
		booster_key@8 {
			input_booster,label = "PEN & HOVER";
			input_booster,type = <7>;	/* BOOSTER_DEVICE_PEN & HOVER */

			input_booster,levels = <1 2>;

			/* Frequency table */
			/* for level	:	1_Head 2_Tail*/
			input_booster,cpu_freqs = <1100000 900000>;
			input_booster,hmp_boost = <0 0>;
			input_booster,kfc_freqs = <1100000 900000>;
			input_booster,mif_freqs = <0 0>;
			input_booster,int_freqs = <0 0>;

			/* Time table */
			input_booster,head_times = <130 130>;
			input_booster,tail_times = <500 500>;
			input_booster,phase_times = <0 0>;
		};
		booster_key@9 {
			input_booster,label = "GAMEPAD";
			input_booster,type = <8>;	/* BOOSTER_DEVICE_GAMEPAD */

			input_booster,levels = <1 2>;

			/* Frequency table */
			/* for level	:	1_Head 2_Tail*/
			input_booster,cpu_freqs = <1300000 900000>;
			input_booster,hmp_boost = <0 0>;
			input_booster,kfc_freqs = <1300000 900000>;
			input_booster,mif_freqs = <0 0>;
			input_booster,int_freqs = <0 0>;

			/* Time table */
			input_booster,head_times = <130 130>;
			input_booster,tail_times = <500 500>;
			input_booster,phase_times = <0 0>;
		}; // Input Booster -
		/* If you need to add new key type, add it this position */
	};

	pinctrl@139C0000 {
		uart0_rts: uart0-rts {
			samsung,pins = "gpb0-7";
			samsung,pin-function = <2>;
			samsung,pin-pud = <1>;
			samsung,pin-con-pdn = <3>;
			samsung,pin-pud-pdn = <1>;
		};

		uart0_cts: uart0-cts {
			samsung,pins = "gpb0-6";
			samsung,pin-function = <2>;
			samsung,pin-pud = <1>;
			samsung,pin-con-pdn = <3>;
			samsung,pin-pud-pdn = <1>;
		};

		uart0_tx: uart0-tx {
			samsung,pins = "gpb0-5";
			samsung,pin-function = <2>;
			samsung,pin-pud = <3>;
			samsung,pin-con-pdn = <3>;
			samsung,pin-pud-pdn = <3>;
		};

		uart0_rx: uart0-rx {
			samsung,pins = "gpb0-4";
			samsung,pin-function = <2>;
			samsung,pin-pud = <3>;
			samsung,pin-con-pdn = <3>;
			samsung,pin-pud-pdn = <3>;
		};
	};

	uart@13800000 {
		pinctrl-names = "default";
		pinctrl-0 = <&uart0_rts &uart0_cts &uart0_tx &uart0_rx>;
	};

	gps {
		compatible = "samsung,exynos-bcm4752";
		gpios = <&gpd2 6 0x1>;
		status = "okay";
	};

	argos {
		compatible = "samsung,argos";
		#address-cells = <1>;
		/*  The device number should be assigned for each device, e.g. "boot_device@1" and "boot_device@2".
		    Duplicated number is not allowed. Please refer the below example. */

		/* Table Format should be
		 * <Throughput(Mbps) ARM_min ARM_max KFC_min KFC_max MIF INT Task IRQ>
		 * ARM_min : Big Core's minimum frequency lock. 0 means not set,
		 * ARM_max : Big Core's maximum frequency lock. 0 means not set,
		 * KFC_min : Little Core's minimum frequency lock. 0 means not set,
		 * KFC_max : Little Core's maximum frequency lock. 0 means not set,
		 * MIF : MIF frequency lock. 0 means not set,
		 * INT : INT frequency lock. 0 means not set,
		 * Task : 1 - Set task affinity lock.
		 *        0 - Not set or unlock,
		 *              Task affinity should be predefined driver's code.
		 * IRQ : 1 - Set irq affinity lock.
		 *       0 - Not set or unlock,
		 *              Task affinity should be predefined driver's code.
		 */
		boot_device@1 {
			net_boost,label="IPC";
			net_boost,node="rmnet0 rmnet1 rmnet2 rmnet3 rmnet4 rmnet5 rmnet6 rmnet7 umts_dm0";
			net_boost,table_size = <3>;
			net_boost,table= <  1 0 0 0 0 0 0 0 1
					   20 0 0 800000 0 416000 100000 0 1
					   50 0 0 1000000 0 825000 100000 0 1
					  100 0 0 1400000 0 825000 100000 0 1>;
		};
		boot_device@2 {
			net_boost,label="P2P";
			net_boost,node="p2p-wlan0-0";
			net_boost,table_size = <3>;
			net_boost,table= <
				30 1200000 0 1200000 0 200000 0 0 0
				50 1500000 0 1500000 0 416000 100000 0 0
				90 1600000 0 1600000 0 825000 100000 1 1
				>;
		};
		boot_device@3 {
			net_boost,label="WIFI";
			net_boost,node="wlan0";
			net_boost,table_size = <3>;
			net_boost,table= <
				10 1000000 0 1000000 0 200000 0 0 0
				60 1600000 0 1600000 0 825000 100000 1 1
				120 1600000 0 1600000 0 825000 100000 1 1
				>;
		};

		/* Example
		   boot_device@2 {
		   net_boost,label="EMMC";
		   net_boost,node="";
		   net_boost,sysnode="/sys/class/mmc_host/mmc0/trans_count";
		   net_boost,table_size = <1>;
		   net_boost,table= <64 0 0 1300000 0 825000 400000 0 0>;
		   };
		   boot_device@3 {
		   net_boost,label="WIFI";
		   net_boost,node="wlan0";
		   net_boost,table_size = <3>;
		   net_boost,table= <60 1000000 0 800000 0 0 200000 0 0
		   100 1200000 0 1000000 0 0 200000 0 0
		   180 1700000 0 1100000 0 543000 267000 0 0>;
		   };
		   boot_device@4 {
		   net_boost,label="P2P";
		   net_boost,node="p2p-wlan0-0";
		   net_boost,table_size = <3>;
		   net_boost,table= <30 1000000 0 800000 0 0 200000 0 0
		   50 1200000 0 1000000 0 0 200000 0 0
		   90 1700000 0 1100000 0 543000 267000 0 0>;
		   };
		   boot_device@5 {
		   net_boost,label="CLAT";
		   net_boost,node="clat clat4";
		   net_boost,table_size = <3>;
		   net_boost,table= <120 1400000 0 0 0 825000 0 0 0
		   130 1500000 0 0 0 825000 0 0 0
		   150 1600000 0 0 0 825000 0 0 0>;
		   };
		 */
	};

	mif_pdata {
		pinctrl-names = "default";
		pinctrl-0 = <&cp_rst_n &ds_det>;

		/* To do: will be remove, for system revision */
		gpios = <&gpd0 0 0x0>,
		       <&gpd0 1 0x0>,
		       <&gpd0 2 0x0>,
		       <&gpd0 3 0x0>;

		modem_ctrl,gpio_cp_rst_n = <&gpe0 6 0x1>;
		mif,gpio_ds_det = <&gpd0 4 0x0>;

		mif,ap_clk_table = <
			/* khz */
			1600000
			1500000
			1400000
			1300000
			1200000
			1100000
			1000000
			900000
			800000
			700000
			600000
			500000
			400000
			300000
			>;

		mif,mif_clk_table = <
			/* khz */
			825000
			728000
			667000
			559000
			416000
			338000
			273000
			200000
			>;
	};

	pinctrl@139C0000 {
		ds_det: ds_det {
			samsung,pins = "gpd0-4";
			samsung,pin-function = <0>;	/* INPUT */
			samsung,pin-pud = <0>;
			samsung,pin-con-pdn = <3>;	/* PREV STATE */
			samsung,pin-pud-pdn = <0>;
		};

		cp_rst_n: cp_rst_n {
			samsung,pins = "gpe0-6";
			samsung,pin-function = <1>;	/* OUTPUT */
			samsung,pin-pud = <0>;		/* PU & PD DISABLE */
			samsung,pin-con-pdn = <1>;	/* OUTPUT 1 */
			samsung,pin-pud-pdn = <0>;	/* PU & PD DISABLE */
		};
		leden_gpio: leden_gpio {
			samsung,pins = "gpd1-6";
			samsung,pin-function = <1>;
			samsung,pin-pud = <0>;
			samsung,pin-val = <0>;
		};
	};

	sec_thermistor@0 {
		compatible = "samsung,sec-ap-thermistor";
		status = "okay";

		adc_array = <289 301 313 324 336 348 360 372 383 395
				407 423 438 454 470 486 501 517 533 548
				564 586 607 629 651 673 694 716 738 759
				781 805 828 852 875 899 930 961 992 1023
				1054 1087 1120 1154 1187 1220 1255 1289 1324 1358
				1393 1433 1472 1512 1551 1591 1631 1670 1710 1749
				1789 1832 1875 1918 1961 2004 2047 2090 2133 2176
				2219 2264 2309 2355 2400 2445 2490 2535 2581 2626
				2671 2708 2745 2782 2819 2856 2892 2929 2966 3003
				3040 3070 3100 3130 3160 3190 3216 3242 3267 3293
				3319 3341 3363 3384 3406 3428 3446 3463 3481 3498 3516>;
		temp_array = <900 890 880 870 860 850 840 830 820 810
					   800 790 780 770 760 750 740 730 720 710
					   700 690 680 670 660 650 640 630 620 610
					   600 590 580 570 560 550 540 530 520 510
					   500 490 480 470 460 450 440 430 420 410
					   400 390 380 370 360 350 340 330 320 310
					   300 290 280 270 260 250 240 230 220 210
					   200 190 180 170 160 150 140 130 120 110
					   100 90 80 70 60 50 40 30 20 10
					   0 (-10) (-20) (-30) (-40) (-50) (-60) (-70) (-80) (-90)
					   (-100) (-110) (-120) (-130) (-140) (-150) (-160) (-170) (-180) (-190) (-200)>;
		io-channels = <&exynos_adc 0>;
		io-channel-names = "adc-ap-temp";
		io-channel-ranges;
	};

	earjack {
		compatible = "sec_jack";
		detect-gpio = <&gpa3 1 0>;
	/*	ear-micbias-en-gpio = <&msmgpio 85 0>; */
		key-gpio = <&gpa1 1 0>;
	/*	ext-detchip-en-gpio = <310>; */
	/*	key-dbtime = <100>; */
		det-dbtime = <50>;
	/*	send-end-active-high; */
		det-zones-list = <&det_zones 0 10000 10 0>,
			<&det_zones 1701 10000 10 2>,
			<&det_zones 4500 10000 10 1>,
			<&det_zones 9999 10000 10 1>;
		but-zones-list = <&but_zones 226 1 578>,
			<&but_zones 582 579 657>,
			<&but_zones 115 658 855>,
			<&but_zones 114 856 1400>;
		pinctrl-names = "default";
		pinctrl-0 = <&earjack_jack_det &earjack_key_det>;
		status = "okay";
	};

};

